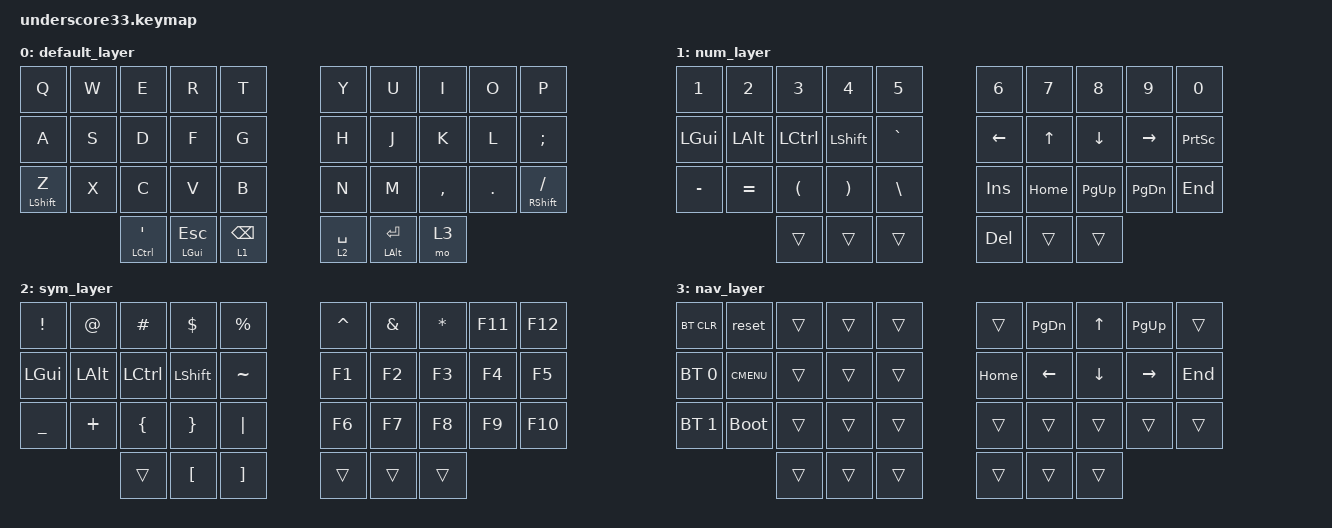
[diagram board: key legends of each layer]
/*
 * Copyright (c) 2020 The ZMK Contributors
 *
 * SPDX-License-Identifier: MIT
 */

// This key-map file WILL NOT WORK FOR YOU, you will need to modify it. I really do not recommend adapting to it.
// This key-map file is set-up to be the split space layout.
// I strongly urge you to customise your firmware to suit your usage.
// Please feel free to join the ZMK server at https://discord.gg/TdRMQaTYdF for help.

#include <behaviors.dtsi>
#include <dt-bindings/zmk/keys.h>
#include <dt-bindings/zmk/bt.h>

/ {

behaviors {
//      hm: homerow_mods {
//        compatible = "zmk,behavior-hold-tap";
//        label = "HOMEROW_MODS";
//        #binding-cells = <2>;
//        tapping_term_ms = <300>;
//        flavor = "tap-preferred";
//        bindings = <&kp>, <&kp>;
//    };

    combos {
    compatible = "zmk,combos";
    combo_del {
        timeout-ms = <50>;
        key-positions = <7 8>;
        bindings = <&kp DEL>;
        layers = <0>;
    };
    combo_bspc {
        timeout-ms = <50>;
        key-positions = <8 9>;
        bindings = <&kp BKSP>;
        layers = <0>;
    };
    combo_tab {
        timeout-ms = <50>;
        key-positions = <11 12>;
        bindings = <&kp TAB>;
        layers = <0>;

    };
    combo_esc {
        timeout-ms = <50>;
        key-positions = <0 1>;
        bindings = <&kp ESC>;
        layers = <0>;

    };
    combo_ent {
        timeout-ms = <50>;
        key-positions = <18 19>;
        bindings = <&kp RET>;
        layers = <0>;

    };
};

};
        keymap {
                compatible = "zmk,keymap";

                default_layer {
// -----------------------------------------------------------------------------------------
// |  Q  |  W  |  E  |  R  |  T   |  Y  |  U   |  I  |  O  |  P  |
// |  A  |  S  |  D  |  F  |  G   |  H  |  J   |  K  |  L  |  ;  |
// |  Z  |  X  |  C  |  V  |  B   |  N  |  M   |  ,  |  .  |  /  |
//             | CTL | ALT |  ENT | SPC | GUI  | CTL |
                        bindings = <
   &kp Q &kp W &kp E &kp R  &kp T  &kp Y &kp U  &kp I  &kp O  &kp P
   &kp A &kp S &kp D &kp F  &kp G  &kp H &kp J  &kp K  &kp L  &kp SEMI
   &mt LSHIFT Z &kp X &kp C &kp V  &kp B &kp N  &kp M  &kp COMMA &kp DOT &mt RSHIFT FSLH
   &mt LCTRL SQT &mt LGUI ESC &lt 1 BSPC &lt 2 SPC &mt LALT RET &mo 3
                        >;
                };

                num_layer {
// -----------------------------------------------------------------------------------------
// |  1  |  2  |  3  |  4  |  5  |  6  |  7  |  8  |  9  |  0  |
// |  !  |  @  |  #  |  $  |  %  |  ^  |  &  |  *  |  =  |  -  |
// |  \  |  {  |  [  |  (  |  _  |  )  |  ]  |  }  |  .  |  `  |
//             | CTL | ALT |  ENT | SPC | GUI  | CTL |
                        bindings = <
   &kp N1    &kp N2    &kp N3    &kp N4      &kp N5      &kp N6    &kp N7    &kp N8    &kp N9     &kp N0
   &kp LGUI  &kp LALT  &kp LCTRL &kp LSHIFT  &kp GRAVE   &kp LEFT &kp UP  &kp DOWN  &kp RIGHT  &kp PSCRN
   &kp MINUS  &kp EQUAL  &kp LPAR  &kp RPAR    &kp BSLH   &kp INS  &kp HOME  &kp PG_UP &kp PG_DN    &kp END
   &trans    &trans    &trans    &kp DEL      &trans      &trans
                        >;
                };
                
                sym_layer {
// -----------------------------------------------------------------------------------------
// |  !  |  @  |  #  |  $  |  %  |  ^  |  &  |  *  |  (  |  )  |
// |    |  @  |  #  |  $  |  %  |  ^  |  &  |  *  |  =  |  -  |
// |  \  |  {  |  [  |  (  |  _  |  )  |  ]  |  }  |  .  |  `  |
//             | CTL | ALT |  ENT | SPC | GUI  | CTL |
                        bindings = <
   &kp EXCL    &kp AT    &kp HASH    &kp DLLR      &kp PRCNT      &kp CARET    &kp AMPS    &kp STAR    &kp F11     &kp F12
   &kp LGUI  &kp LALT  &kp LCTRL &kp LSHIFT  &kp TILDE   &kp F1 &kp F2  &kp F3  &kp F4  &kp F5
   &kp UNDER  &kp PLUS  &kp LBRC  &kp RBRC    &kp PIPE   &kp F6  &kp F7  &kp F8 &kp F9    &kp F10
   &trans    &kp LBKT    &kp RBKT    &trans      &trans      &trans
                        >;
                };

                nav_layer {
// -----------------------------------------------------------------------------------------
// |BTCLR| RST |     |      |     |      | PGDN |  UP  | PGUP |      |
// | BT0 |CMENU|     |      |     | HOME | LEFT | DOWN |RIGHT | END  |
// | BT1 | BOOT|     |      |     |      |      |      |      |      |
//             | CTL | ALT |  ENT | SPC | GUI  | CTL |
                        bindings = <
   &bt BT_CLR   &reset      &trans  &trans &trans     &trans    &kp PG_DN &kp UP    &kp PG_UP &trans
   &bt BT_SEL 0 &kp K_CMENU &trans  &trans &trans     &kp HOME  &kp LEFT  &kp DOWN  &kp RIGHT &kp END
   &bt BT_SEL 1 &bootloader &trans  &trans &trans     &trans    &trans    &trans    &trans    &trans
   &trans   &trans    &trans     &trans   &trans   &trans
                        >;
                };


        };
};
